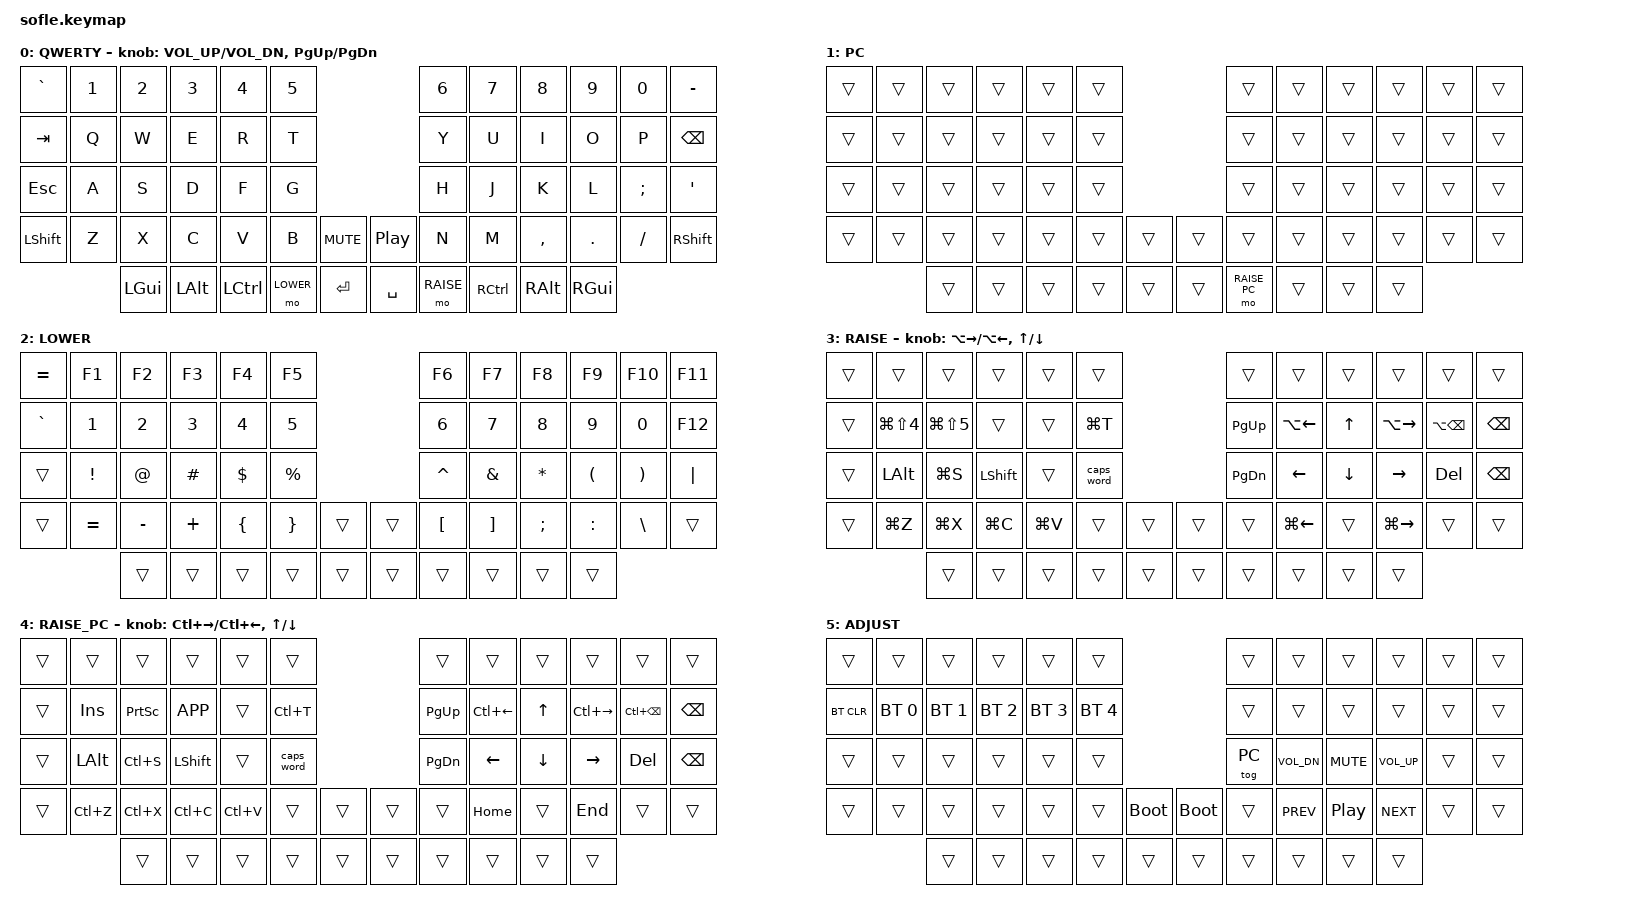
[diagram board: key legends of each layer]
/*
 * Copyright (c) 2020 The ZMK Contributors
 *
 * SPDX-License-Identifier: MIT
 */

#include <behaviors.dtsi>
#include <dt-bindings/zmk/keys.h>
#include <dt-bindings/zmk/bt.h>
#include <dt-bindings/zmk/ext_power.h>

// Mac is the default. PC is an overlay toggled from ADJUST that only swaps the
// RAISE key for RAISE_PC (Ctrl shortcuts). It resets to Mac on power-up.
#define QWERTY   0
#define PC       1
#define LOWER    2
#define RAISE    3
#define RAISE_PC 4
#define ADJUST   5

/ {
    conditional_layers {
        compatible = "zmk,conditional-layers";
        tri_layer {
            if-layers = <LOWER RAISE>;
            then-layer = <ADJUST>;
        };
        tri_layer_pc {
            if-layers = <LOWER RAISE_PC>;
            then-layer = <ADJUST>;
        };
    };

    keymap {
        compatible = "zmk,keymap";

        qwerty_layer {
            display-name = "QWERTY";
// ------------------------------------------------------------------------------------------------------------
// |  `    |  1  |  2  |  3   |  4   |  5   |                   |  6   |  7    |  8    |  9   |   0   |   -   |
// |  TAB  |  Q  |  W  |  E   |  R   |  T   |                   |  Y   |  U    |  I    |  O   |   P   | BKSPC |
// |  ESC  |  A  |  S  |  D   |  F   |  G   |                   |  H   |  J    |  K    |  L   |   ;   |   '   |
// | SHIFT |  Z  |  X  |  C   |  V   |  B   |  MUTE  |  |  PLAY |  N   |  M    |  ,    |  .   |   /   | SHIFT |
//               | GUI | ALT  | CTRL | LOWER|  ENTER |  | SPACE | RAISE| CTRL  | ALT   | GUI  |
            bindings = <
&kp GRAVE &kp N1 &kp N2   &kp N3   &kp N4    &kp N5                           &kp N6     &kp N7    &kp N8    &kp N9   &kp N0   &kp MINUS
&kp TAB   &kp Q  &kp W    &kp E    &kp R     &kp T                            &kp Y      &kp U     &kp I     &kp O    &kp P    &kp BSPC
&kp ESC   &kp A  &kp S    &kp D    &kp F     &kp G                            &kp H      &kp J     &kp K     &kp L    &kp SEMI &kp SQT
&kp LSHFT &kp Z  &kp X    &kp C    &kp V     &kp B      &kp C_MUTE &kp C_PP   &kp N      &kp M     &kp COMMA &kp DOT  &kp FSLH &kp RSHFT
                 &kp LGUI &kp LALT &kp LCTRL &mo LOWER  &kp RET    &kp SPACE  &mo RAISE  &kp RCTRL &kp RALT  &kp RGUI
            >;

            sensor-bindings = <&inc_dec_kp C_VOL_UP C_VOL_DN &inc_dec_kp PG_UP PG_DN>;
        };

        pc_layer {
            display-name = "PC";
// Overlay: everything falls through to QWERTY except RAISE, which opens RAISE_PC.
            bindings = <
&trans &trans &trans &trans &trans &trans                                     &trans       &trans &trans &trans &trans &trans
&trans &trans &trans &trans &trans &trans                                     &trans       &trans &trans &trans &trans &trans
&trans &trans &trans &trans &trans &trans                                     &trans       &trans &trans &trans &trans &trans
&trans &trans &trans &trans &trans &trans &trans                       &trans &trans       &trans &trans &trans &trans &trans
              &trans &trans &trans &trans &trans                       &trans &mo RAISE_PC &trans &trans &trans
            >;
        };

        lower_layer {
            display-name = "LOWER";
// ------------------------------------------------------------------------------------------------------------
// |   =   |  F1 |  F2 |  F3  |  F4  |  F5  |                   |  F6  |  F7   |  F8   |  F9  |  F10  |  F11  |
// |   `   |   1 |   2 |   3  |   4  |   5  |                   |   6  |   7   |   8   |   9  |    0  |  F12  |
// |       |  !  |  @  |  #   |  $   |  %   |                   |  ^   |  &    |  *    |  (   |   )   |   |   |
// |       |  =  |  -  |  +   |  {   |  }   |        |  |       |  [   |  ]    |  ;    |  :   |   \   |       |
//               |     |      |      |      |        |  |       |      |       |       |      |
            bindings = <
&kp EQUAL &kp F1    &kp F2    &kp F3      &kp F4    &kp F5                       &kp F6    &kp F7   &kp F8    &kp F9    &kp F10   &kp F11
&kp GRAVE &kp N1    &kp N2    &kp N3      &kp N4    &kp N5                       &kp N6    &kp N7   &kp N8    &kp N9    &kp N0    &kp F12
&trans    &kp EXCL  &kp AT    &kp HASH    &kp DLLR  &kp PRCNT                    &kp CARET &kp AMPS &kp ASTRK &kp LPAR  &kp RPAR  &kp PIPE
&trans    &kp EQUAL &kp MINUS &kp PLUS    &kp LBRC  &kp RBRC   &trans   &trans   &kp LBKT  &kp RBKT &kp SEMI  &kp COLON &kp BSLH  &trans
                    &trans    &trans      &trans    &trans     &trans   &trans   &trans    &trans   &trans    &trans
            >;
        };

        raise_layer {
            display-name = "RAISE";
// Mac shortcuts (Cmd / Option). Encoders: left = word jump, right = line up/down.
// ------------------------------------------------------------------------------------------------------------
// |       |     |     |      |      |      |                   |      |       |       |      |       |       |
// |       |SHOT▢|SHOT |      |      | CMD T|                   | PGUP | OPT ← |   ↑   | OPT →|OPT BKSP| BKSPC|
// |       | ALT |CMD S|SHIFT |      | CAPSW|                   | PGDN |   ←   |   ↓   |  →   |  DEL  | BKSPC |
// |       |CMD Z|CMD X|CMD C |CMD V |      |        |  |       |      | LINE← |       |LINE→ |       |       |
//               |     |      |      |      |        |  |       |      |       |       |      |
            bindings = <
&trans &trans           &trans           &trans       &trans       &trans                        &trans    &trans       &trans       &trans        &trans         &trans
&trans &kp LG(LS(N4))   &kp LG(LS(N5))   &trans       &trans       &kp LG(T)                     &kp PG_UP &kp LA(LEFT) &kp UP       &kp LA(RIGHT) &kp LA(BSPC)   &kp BSPC
&trans &kp LALT         &kp LG(S)        &kp LSHFT    &trans       &caps_word                    &kp PG_DN &kp LEFT     &kp DOWN     &kp RIGHT     &kp DEL        &kp BSPC
&trans &kp LG(Z)        &kp LG(X)        &kp LG(C)    &kp LG(V)    &trans       &trans   &trans  &trans    &kp LG(LEFT) &trans       &kp LG(RIGHT) &trans         &trans
                        &trans           &trans       &trans       &trans       &trans   &trans  &trans    &trans       &trans       &trans
            >;

            sensor-bindings = <&inc_dec_kp LA(RIGHT) LA(LEFT) &inc_dec_kp UP DOWN>;
        };

        raise_pc_layer {
            display-name = "RAISE_PC";
// Windows/Linux shortcuts (Ctrl). Encoders: left = word jump, right = line up/down.
// ------------------------------------------------------------------------------------------------------------
// |       |     |     |      |      |      |                   |      |       |       |      |       |       |
// |       | INS | PSCR| MENU |      |CTL(T)|                   | PGUP | CTRL← |   ↑   |CTRL→ |CTL(BKSP)|BKSPC|
// |       | ALT |CTL(S)|SHIFT|      | CAPSW|                   | PGDN |   ←   |   ↓   |  →   |  DEL  | BKSPC |
// |       | UNDO| CUT | COPY | PASTE|      |        |  |       |      | HOME  |       | END  |       |       |
//               |     |      |      |      |        |  |       |      |       |       |      |
            bindings = <
&trans &trans       &trans       &trans       &trans       &trans                        &trans    &trans       &trans       &trans        &trans         &trans
&trans &kp INS      &kp PSCRN    &kp K_APP    &trans       &kp LC(T)                     &kp PG_UP &kp LC(LEFT) &kp UP       &kp LC(RIGHT) &kp LC(BSPC)   &kp BSPC
&trans &kp LALT     &kp LC(S)    &kp LSHFT    &trans       &caps_word                    &kp PG_DN &kp LEFT     &kp DOWN     &kp RIGHT     &kp DEL        &kp BSPC
&trans &kp LC(Z)    &kp LC(X)    &kp LC(C)    &kp LC(V)    &trans       &trans   &trans  &trans    &kp HOME     &trans       &kp END       &trans         &trans
                    &trans       &trans       &trans       &trans       &trans   &trans  &trans    &trans       &trans       &trans
            >;

            sensor-bindings = <&inc_dec_kp LC(RIGHT) LC(LEFT) &inc_dec_kp UP DOWN>;
        };

        adjust_layer {
            display-name = "ADJUST";
// ------------------------------------------------------------------------------------------------------------
// |       |     |     |      |      |      |                   |      |       |       |      |       |       |
// | BTCLR | BT1 | BT2 |  BT3 |  BT4 |  BT5 |                   |      |       |       |      |       |       |
// |       |     |     |      |      |      |                   |PC/MAC| VOL-  | MUTE  | VOL+ |       |       |
// |       |     |     |      |      |      |  BOOT  |  | BOOT  |      | PREV  | PLAY  | NEXT |       |       |
//               |     |      |      |      |        |  |       |      |       |       |      |
            bindings = <
&trans     &trans       &trans       &trans       &trans       &trans                          &trans    &trans       &trans     &trans       &trans &trans
&bt BT_CLR &bt BT_SEL 0 &bt BT_SEL 1 &bt BT_SEL 2 &bt BT_SEL 3 &bt BT_SEL 4                   &trans    &trans       &trans     &trans       &trans &trans
&trans     &trans       &trans       &trans       &trans       &trans                          &tog PC   &kp C_VOL_DN &kp C_MUTE &kp C_VOL_UP &trans &trans
&trans     &trans       &trans       &trans       &trans       &trans    &bootloader &bootloader &trans  &kp C_PREV   &kp C_PP   &kp C_NEXT   &trans &trans
                        &trans       &trans       &trans       &trans    &trans      &trans      &trans  &trans       &trans     &trans
            >;
        };
    };
};
